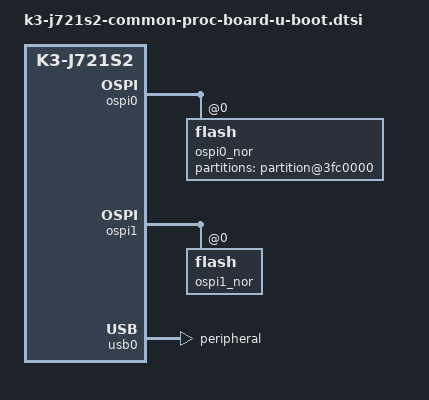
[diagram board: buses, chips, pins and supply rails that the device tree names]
// SPDX-License-Identifier: GPL-2.0
/*
 * Copyright (C) 2021-2023 Texas Instruments Incorporated - https://www.ti.com/
 */

#include "k3-j721s2-binman.dtsi"

&wkup_i2c0 {
	bootph-all;
};

&cbass_main {
	bootph-all;
};

&main_navss {
	bootph-all;
};

&cbass_mcu_wakeup {
	bootph-all;

	chipid@43000014 {
		bootph-all;
	};
};

&mcu_navss {
	bootph-all;
};

&mcu_ringacc {
	bootph-all;
};

&mcu_udmap {
	reg =   <0x0 0x285c0000 0x0 0x100>,
		<0x0 0x284c0000 0x0 0x4000>,
		<0x0 0x2a800000 0x0 0x40000>,
		<0x0 0x284a0000 0x0 0x4000>,
		<0x0 0x2aa00000 0x0 0x40000>,
		<0x0 0x28400000 0x0 0x2000>;
	reg-names = "gcfg", "rchan", "rchanrt", "tchan",
		    "tchanrt", "rflow";
	bootph-all;
};

&secure_proxy_main {
	bootph-all;
};

&sms {
	bootph-all;
};

&main_pmx0 {
	bootph-all;
};

&main_uart8_pins_default {
	bootph-all;
};

&main_mmc1_pins_default {
	bootph-all;
};

&main_usbss0_pins_default {
	bootph-all;
};

&wkup_pmx0 {
	bootph-all;
};

&k3_pds {
	bootph-all;
};

&k3_clks {
	bootph-all;
};

&k3_reset {
	bootph-all;
};

&main_uart8 {
	bootph-all;
};

&mcu_uart0 {
	bootph-all;
};

&wkup_uart0 {
	bootph-all;
};

&main_sdhci0 {
	bootph-all;
};

&main_sdhci1 {
	bootph-all;
};

&wkup_gpio_pins_default {
	bootph-all;
};

&wkup_gpio0 {
	bootph-all;
};

&mcu_fss0_ospi0_pins_default {
	bootph-all;
};

&ospi0 {
	ospi0_nor: flash@0 {
		cdns,phy-mode;
		bootph-all;
		partitions {
			bootph-all;
			partition@3fc0000 {
				bootph-all;
			};
		};
	};
};

&ospi0_nand {
	cdns,phy-mode;
	bootph-all;
};

&ospi1 {
	bootph-all;
	ospi1_nor: flash@0 {
		bootph-all;
	};
};

&usbss0 {
	bootph-all;
};

&usb0 {
	dr_mode = "peripheral";
	bootph-all;
};

&chipid {
	bootph-all;
};
